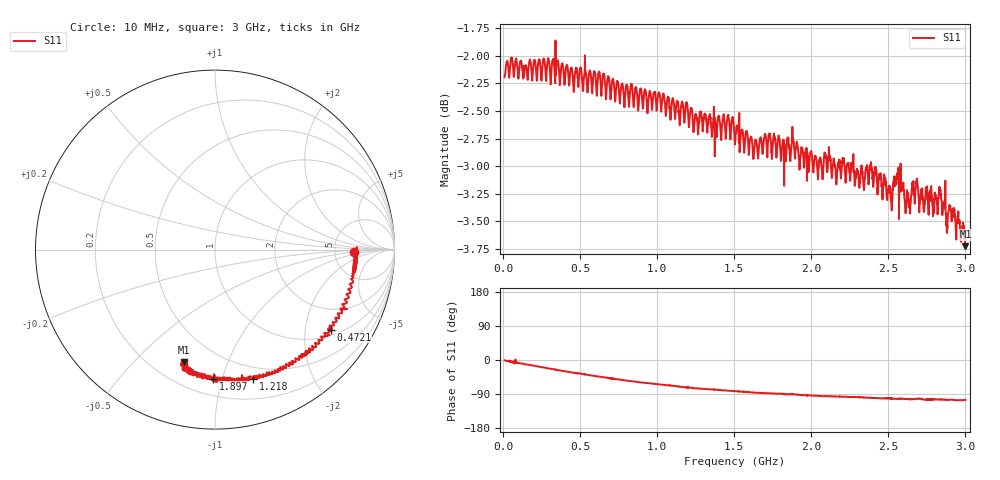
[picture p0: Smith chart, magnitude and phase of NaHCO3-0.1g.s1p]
# HZ S RI R 50
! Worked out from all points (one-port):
!   2020 points, 10 MHz to 3 GHz, reference 50 ohm
!   lowest |S11| = -3.7 dB at 3 GHz (marker M1), VSWR 4.73, Z = 16.2 - j35.4 ohm
!   |S11| at or under -10 dB: nowhere
!   S11 on the Smith chart (normalised r, x): 10 MHz: 7.93, -0.48; 472.1 MHz: 1.19, -2.74; 1.218 GHz: 0.38, -1.27; 1.897 GHz: 0.31, -0.93; 3 GHz: 0.32, -0.71
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1e7  0.7767 -0.012
5.887072e7  0.7879 -0.0817
6.627538e7  0.7762 -0.1
1.891927e8  0.7497 -0.1926
3.343239e8  0.709 -0.3289
3.846755e8  0.6911 -0.3786
4.720505e8  0.6437 -0.446
6.364338e8  0.544 -0.5384
7.578702e8  0.4673 -0.5939
9.074442e8  0.3795 -0.6488
1.132546e9  0.2628 -0.7106
1.21844e9  0.2137 -0.7213
1.50574e9  0.0987 -0.7184
1.6331e9  0.0494 -0.7222
1.878935e9  -0.00881 -0.7284
1.896706e9  -0.0109 -0.7188
2.071456e9  -0.0633 -0.6979
2.25361e9  -0.0937 -0.6923
2.453536e9  -0.1372 -0.6863
2.514254e9  -0.1308 -0.6763
2.564606e9  -0.1503 -0.6896
2.626805e9  -0.1478 -0.6713
2.660866e9  -0.1562 -0.6727
2.702333e9  -0.1477 -0.6629
2.739356e9  -0.1731 -0.6613
2.832654e9  -0.1662 -0.672
2.949648e9  -0.1878 -0.6455
3e9  -0.1747 -0.6274
